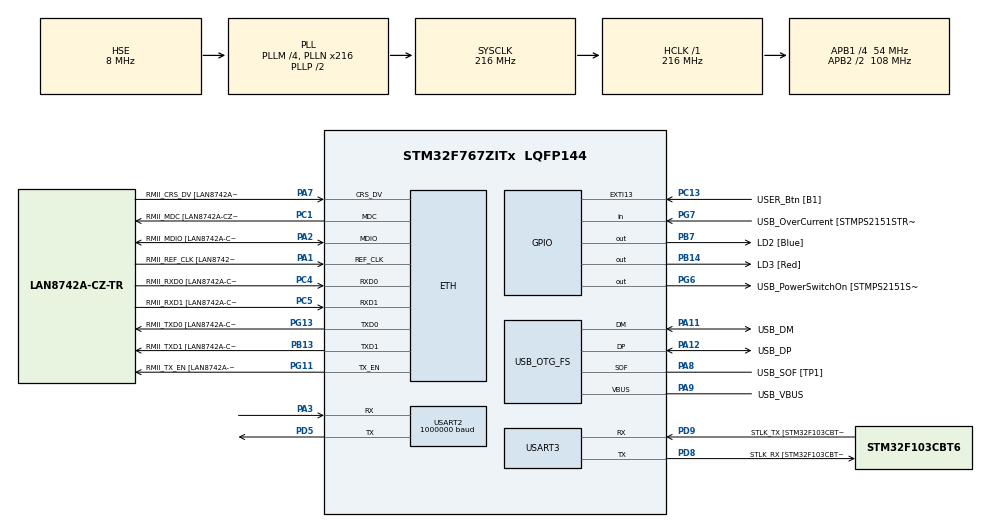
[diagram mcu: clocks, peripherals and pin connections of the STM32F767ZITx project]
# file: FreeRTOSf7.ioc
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ETH.MediaInterface=ETH_MEDIA_INTERFACE_RMII
ETH.PHY_Name=LAN8742A_PHY_ADDRESS
ETH.PHY_Value=0
ETH.PhyAddress=0
FREERTOS.INCLUDE_vTaskDelayUntil=1
FREERTOS.Tasks01=defaultTask,0,128,StartDefaultTask,Default,NULL
FREERTOS.configUSE_COUNTING_SEMAPHORES=1
Mcu.Family=STM32F7
Mcu.Name=STM32F767ZITx
Mcu.Package=LQFP144
NVIC.PriorityGroup=NVIC_PRIORITYGROUP_4
NVIC.TIM1_UP_TIM10_IRQn=true\:0\:0\:false\:false\:true\:false\:false
NVIC.TimeBase=TIM1_UP_TIM10_IRQn
NVIC.TimeBaseIP=TIM1
NVIC.USART2_IRQn=true\:5\:0\:false\:true\:true\:1\:true\:true
NVIC.USART3_IRQn=true\:5\:0\:false\:true\:true\:2\:true\:true
PA1.GPIO_Label=RMII_REF_CLK [LAN8742A-CZ-TR_REFCLK0]
PA1.Mode=RMII
PA1.Signal=ETH_REF_CLK
PA10.GPIO_Label=USB_ID
PA10.Signal=USB_OTG_FS_ID
PA11.GPIO_Label=USB_DM
PA11.Mode=Device_Only
PA11.Signal=USB_OTG_FS_DM
PA12.GPIO_Label=USB_DP
PA12.Mode=Device_Only
PA12.Signal=USB_OTG_FS_DP
PA13.GPIO_Label=TMS
PA13.Mode=Serial_Wire
PA13.Signal=SYS_JTMS-SWDIO
PA14.GPIO_Label=TCK
PA14.Mode=Serial_Wire
PA14.Signal=SYS_JTCK-SWCLK
PA2.GPIO_Label=RMII_MDIO [LAN8742A-CZ-TR_MDIO]
PA2.Mode=RMII
PA2.Signal=ETH_MDIO
PA3.Mode=Asynchronous
PA3.Signal=USART2_RX
PA7.GPIO_Label=RMII_CRS_DV [LAN8742A-CZ-TR_CRS_DV]
PA7.Mode=RMII
PA7.Signal=ETH_CRS_DV
PA8.GPIO_Label=USB_SOF [TP1]
PA8.Mode=Activate_SOF_FS
PA8.Signal=USB_OTG_FS_SOF
PA9.GPIO_Label=USB_VBUS
PA9.Mode=Activate_VBUS
PA9.Signal=USB_OTG_FS_VBUS
PB13.GPIO_Label=RMII_TXD1 [LAN8742A-CZ-TR_TXD1]
PB13.Mode=RMII
PB13.Signal=ETH_TXD1
PB14.GPIO_Label=LD3 [Red]
PB14.Signal=GPIO_Output
PB3.GPIO_Label=SWO
PB3.Signal=SYS_JTDO-SWO
PB7.GPIO_Label=LD2 [Blue]
PB7.Signal=GPIO_Output
PC1.GPIO_Label=RMII_MDC [LAN8742A-CZ-TR_MDC]
PC1.Mode=RMII
PC1.Signal=ETH_MDC
PC13.GPIO_Label=USER_Btn [B1]
PC13.Signal=GPXTI13
PC14/OSC32_IN.Mode=LSE-External-Oscillator
PC14/OSC32_IN.Signal=RCC_OSC32_IN
PC15/OSC32_OUT.Mode=LSE-External-Oscillator
PC15/OSC32_OUT.Signal=RCC_OSC32_OUT
PC4.GPIO_Label=RMII_RXD0 [LAN8742A-CZ-TR_RXD0]
PC4.Mode=RMII
PC4.Signal=ETH_RXD0
PC5.GPIO_Label=RMII_RXD1 [LAN8742A-CZ-TR_RXD1]
PC5.Mode=RMII
PC5.Signal=ETH_RXD1
PD5.Mode=Asynchronous
PD5.Signal=USART2_TX
PD8.GPIO_Label=STLK_RX [STM32F103CBT6_PA3]
PD8.Mode=Asynchronous
PD8.Signal=USART3_TX
PD9.GPIO_Label=STLK_TX [STM32F103CBT6_PA2]
PD9.Mode=Asynchronous
PD9.Signal=USART3_RX
PG11.GPIO_Label=RMII_TX_EN [LAN8742A-CZ-TR_TXEN]
PG11.Mode=RMII
PG11.Signal=ETH_TX_EN
PG13.GPIO_Label=RMII_TXD0 [LAN8742A-CZ-TR_TXD0]
PG13.Mode=RMII
PG13.Signal=ETH_TXD0
PG6.GPIO_Label=USB_PowerSwitchOn [STMPS2151STR_EN]
PG6.Signal=GPIO_Output
PG7.GPIO_Label=USB_OverCurrent [STMPS2151STR_FAULT]
PG7.Signal=GPIO_Input
PH0/OSC_IN.GPIO_Label=MCO [STM32F103CBT6_PA8]
PH0/OSC_IN.Mode=HSE-External-Clock-Source
PH0/OSC_IN.Signal=RCC_OSC_IN
PH1/OSC_OUT.Mode=HSE-External-Clock-Source
PH1/OSC_OUT.Signal=RCC_OSC_OUT
ProjectManager.HeapSize=0x200
ProjectManager.StackSize=0x400
ProjectManager.TargetToolchain=SW4STM32
RCC.48MHZClocksFreq_Value=24000000
RCC.AHBFreq_Value=216000000
RCC.APB1CLKDivider=RCC_HCLK_DIV4
RCC.APB1Freq_Value=54000000
RCC.APB1TimFreq_Value=108000000
RCC.APB2CLKDivider=RCC_HCLK_DIV2
RCC.APB2Freq_Value=108000000
RCC.APB2TimFreq_Value=216000000
RCC.CortexFreq_Value=216000000
RCC.HCLKFreq_Value=216000000
RCC.HSE_VALUE=8000000
RCC.HSI_VALUE=16000000
RCC.PLLM=4
RCC.PLLMUL=RCC_PLL_MUL9
RCC.PLLN=216
RCC.PLLQ=9
RCC.PRESCALERUSB=RCC_USBCLKSOURCE_PLL_DIV1_5
RCC.SYSCLKFreq_VALUE=216000000
RCC.SYSCLKSource=RCC_SYSCLKSOURCE_PLLCLK
RCC.SYSCLKSourceVirtual=RCC_SYSCLKSOURCE_PLLCLK
RCC.USBFreq_Value=48000000
RCC.VCOOutputFreq_Value=432000000
USART2.BaudRate=1000000
USART2.Mode=MODE_TX
USART2.VirtualMode-Asynchronous=VM_ASYNC
USART2.WordLength=WORDLENGTH_8B
USART3.VirtualMode-Asynchronous=VM_ASYNC
USB_OTG_FS.VirtualMode=Device_Only
VP_FREERTOS_VS_ENABLE.Mode=Enabled
VP_SYS_VS_tim1.Mode=TIM1
board=NUCLEO-F767ZI

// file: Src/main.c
/**
  ******************************************************************************
  * @file           : main.c
  * @brief          : Main program body
  ******************************************************************************
  * This notice applies to any and all portions of this file
  * that are not between comment pairs USER CODE BEGIN and
  * USER CODE END. Other portions of this file, whether
  * inserted by the user or by software development tools
  * are owned by their respective copyright owners.
  *
  * Copyright (c) 2018 STMicroelectronics International N.V.
  * All rights reserved.
  *
  * Redistribution and use in source and binary forms, with or without
  * modification, are permitted, provided that the following conditions are met:
  *
  * 1. Redistribution of source code must retain the above copyright notice,
  *    this list of conditions and the following disclaimer.
  * 2. Redistributions in binary form must reproduce the above copyright notice,
  *    this list of conditions and the following disclaimer in the documentation
  *    and/or other materials provided with the distribution.
  * 3. Neither the name of STMicroelectronics nor the names of other
  *    contributors to this software may be used to endorse or promote products
  *    derived from this software without specific written permission.
  * 4. This software, including modifications and/or derivative works of this
  *    software, must execute solely and exclusively on microcontroller or
  *    microprocessor devices manufactured by or for STMicroelectronics.
  * 5. Redistribution and use of this software other than as permitted under
  *    this license is void and will automatically terminate your rights under
  *    this license.
  *
  * THIS SOFTWARE IS PROVIDED BY STMICROELECTRONICS AND CONTRIBUTORS "AS IS"
  * AND ANY EXPRESS, IMPLIED OR STATUTORY WARRANTIES, INCLUDING, BUT NOT
  * LIMITED TO, THE IMPLIED WARRANTIES OF MERCHANTABILITY, FITNESS FOR A
  * PARTICULAR PURPOSE AND NON-INFRINGEMENT OF THIRD PARTY INTELLECTUAL PROPERTY
  * RIGHTS ARE DISCLAIMED TO THE FULLEST EXTENT PERMITTED BY LAW. IN NO EVENT
  * SHALL STMICROELECTRONICS OR CONTRIBUTORS BE LIABLE FOR ANY DIRECT, INDIRECT,
  * INCIDENTAL, SPECIAL, EXEMPLARY, OR CONSEQUENTIAL DAMAGES (INCLUDING, BUT NOT
  * LIMITED TO, PROCUREMENT OF SUBSTITUTE GOODS OR SERVICES; LOSS OF USE, DATA,
  * OR PROFITS; OR BUSINESS INTERRUPTION) HOWEVER CAUSED AND ON ANY THEORY OF
  * LIABILITY, WHETHER IN CONTRACT, STRICT LIABILITY, OR TORT (INCLUDING
  * NEGLIGENCE OR OTHERWISE) ARISING IN ANY WAY OUT OF THE USE OF THIS SOFTWARE,
  * EVEN IF ADVISED OF THE POSSIBILITY OF SUCH DAMAGE.
  *
  ******************************************************************************
  */
#include "main.h"
#include "stm32f7xx_hal.h"
#include "cmsis_os.h"
#include "selfFIFO.h"
#include "stm32f7xx_nucleo_144.h"
#include "stdlib.h"

#include "stm32f767xx.h"
#include "stm32f7xx.h"

ETH_HandleTypeDef heth;

UART_HandleTypeDef huart2;
UART_HandleTypeDef huart3;

PCD_HandleTypeDef hpcd_USB_OTG_FS;

osThreadId defaultTaskHandle;

osThreadId TempReadTaskHandle;
osThreadId HumidityReadTaskHandle;
osThreadId dataCaptureTaskHandle;

osMessageQId infoQueueHandle;
osSemaphoreId triggerSemaphore;//
osMutexId lcdMutex;

/* USER CODE BEGIN PV */
/* Private variables ---------------------------------------------------------*/

/* USER CODE END PV */

void SystemClock_Config(void);
static void MX_GPIO_Init(void);
static void MX_ETH_Init(void);
static void MX_USART3_UART_Init(void);
static void MX_USB_OTG_FS_PCD_Init(void);
static void MX_USART2_UART_Init(void);
void StartDefaultTask(void const * argument);
static void MX_NVIC_Init(void);

void uartsendITHandler(UART_HandleTypeDef huart);

void TempReadTask(); // The temperature will be read every 2secs and displayed/written in a Queue towards the data Capture Task
void HumidityReadTask(); // The humidity will be read every 2secs and displayed/written in a Queue towards the data Capture Task
void dataCaptureTask();// The data will be saved in this task

// Tracesniffer Test: The functions arent implemented
int readTemp();    //Reads the temp // Displayed with flashing of LED3
int readHumidity(); //Reads the temp // Displayed with flashing of LED3
void writeToLCD(); // The LCD is a shared resource// It takes 500ms to write to the LCD // Displayed with LED1
void saveData(); //Data is saved // Displayed by LED2
/* USER CODE BEGIN PFP */
/* Private function prototypes -----------------------------------------------*/

/* USER CODE END PFP */

int main(void)
{

  /* MCU Configuration----------------------------------------------------------*/

  /* Reset of all peripherals, Initializes the Flash interface and the Systick. */
  HAL_Init();

  /* Configure the system clock */
  SystemClock_Config();

  /* Initialize all configured peripherals */
  MX_GPIO_Init();
 // MX_ETH_Init();
  MX_USART3_UART_Init();
  MX_USB_OTG_FS_PCD_Init();
  MX_USART2_UART_Init();

  /* Initialize interrupts */
  MX_NVIC_Init();
  /* USER CODE BEGIN 2 */

  osMessageQDef(infoQueueHandle, 10, int);
  infoQueueHandle = osMessageCreate(osMessageQ(infoQueueHandle), NULL);
  /* USER CODE END 2 */
  traceSTART();
  /* USER CODE BEGIN RTOS_MUTEX */

  lcdMutex=xSemaphoreCreateMutex();
  /* USER CODE END RTOS_MUTEX */

  /* USER CODE BEGIN RTOS_SEMAPHORES */
  triggerSemaphore=xSemaphoreCreateCounting(5,0);
  /* USER CODE END 2 */

  /* USER CODE BEGIN RTOS_MUTEX */
  /* add mutexes, ... */
  /* USER CODE END RTOS_MUTEX */

  /* USER CODE BEGIN RTOS_SEMAPHORES */
  /* add semaphores, ... */
  /* USER CODE END RTOS_SEMAPHORES */

  /* Create the thread(s) */
  /* definition and creation of defaultTask */
  //osThreadDef(defaultTask, StartDefaultTask, osPriorityNormal, 0, 128);
  //defaultTaskHandle = osThreadCreate(osThread(defaultTask), NULL);

  /* USER CODE BEGIN RTOS_THREADS */
  osThreadDef(Temp, TempReadTask, osPriorityNormal, 0, 128);
  TempReadTaskHandle = osThreadCreate(osThread(Temp), NULL);

  osThreadDef(Humid, HumidityReadTask, osPriorityNormal, 0, 128);
  HumidityReadTaskHandle = osThreadCreate(osThread(Humid), NULL);

  osThreadDef(Data, dataCaptureTask, osPriorityNormal, 0, 128);
  dataCaptureTaskHandle = osThreadCreate(osThread(Data), NULL);
  /* USER CODE END RTOS_THREADS */

  BSP_LED_Init(LED1);

  /* Start scheduler */
  osKernelStart();

  /* We should never get here as control is now taken by the scheduler */

  /* Infinite loop */
  while (1)
  {

  }

}

void SystemClock_Config(void)
{

  RCC_OscInitTypeDef RCC_OscInitStruct;
  RCC_ClkInitTypeDef RCC_ClkInitStruct;
  RCC_PeriphCLKInitTypeDef PeriphClkInitStruct;

    /**Configure the main internal regulator output voltage
    */
  __HAL_RCC_PWR_CLK_ENABLE();

  __HAL_PWR_VOLTAGESCALING_CONFIG(PWR_REGULATOR_VOLTAGE_SCALE1);

    /**Initializes the CPU, AHB and APB busses clocks
    */
  RCC_OscInitStruct.OscillatorType = RCC_OSCILLATORTYPE_HSE;
  RCC_OscInitStruct.HSEState = RCC_HSE_BYPASS;
  RCC_OscInitStruct.PLL.PLLState = RCC_PLL_ON;
  RCC_OscInitStruct.PLL.PLLSource = RCC_PLLSOURCE_HSE;
  RCC_OscInitStruct.PLL.PLLM = 4;
  RCC_OscInitStruct.PLL.PLLN = 216;
  RCC_OscInitStruct.PLL.PLLP = RCC_PLLP_DIV2;
  RCC_OscInitStruct.PLL.PLLQ = 9;
  if (HAL_RCC_OscConfig(&RCC_OscInitStruct) != HAL_OK)
  {
    _Error_Handler(__FILE__, __LINE__);
  }

    /**Activate the Over-Drive mode
    */
  if (HAL_PWREx_EnableOverDrive() != HAL_OK)
  {
    _Error_Handler(__FILE__, __LINE__);
  }

    /**Initializes the CPU, AHB and APB busses clocks
    */
  RCC_ClkInitStruct.ClockType = RCC_CLOCKTYPE_HCLK|RCC_CLOCKTYPE_SYSCLK
                              |RCC_CLOCKTYPE_PCLK1|RCC_CLOCKTYPE_PCLK2;
  RCC_ClkInitStruct.SYSCLKSource = RCC_SYSCLKSOURCE_PLLCLK;
  RCC_ClkInitStruct.AHBCLKDivider = RCC_SYSCLK_DIV1;
  RCC_ClkInitStruct.APB1CLKDivider = RCC_HCLK_DIV4;
  RCC_ClkInitStruct.APB2CLKDivider = RCC_HCLK_DIV2;

  if (HAL_RCC_ClockConfig(&RCC_ClkInitStruct, FLASH_LATENCY_7) != HAL_OK)
  {
    _Error_Handler(__FILE__, __LINE__);
  }

  PeriphClkInitStruct.PeriphClockSelection = RCC_PERIPHCLK_USART2|RCC_PERIPHCLK_USART3
                              |RCC_PERIPHCLK_CLK48;
  PeriphClkInitStruct.Usart2ClockSelection = RCC_USART2CLKSOURCE_PCLK1;
  PeriphClkInitStruct.Usart3ClockSelection = RCC_USART3CLKSOURCE_PCLK1;
  PeriphClkInitStruct.Clk48ClockSelection = RCC_CLK48SOURCE_PLL;
  if (HAL_RCCEx_PeriphCLKConfig(&PeriphClkInitStruct) != HAL_OK)
  {
    _Error_Handler(__FILE__, __LINE__);
  }

    /**Configure the Systick interrupt time
    */
  HAL_SYSTICK_Config(HAL_RCC_GetHCLKFreq()/1000);

    /**Configure the Systick
    */
  HAL_SYSTICK_CLKSourceConfig(SYSTICK_CLKSOURCE_HCLK);

  /* SysTick_IRQn interrupt configuration */
  HAL_NVIC_SetPriority(SysTick_IRQn, 15, 0);
}

/**
  * @brief NVIC Configuration.
  * @retval None
  */
static void MX_NVIC_Init(void)
{
  /* USART2_IRQn interrupt configuration */
  HAL_NVIC_SetPriority(USART2_IRQn, 5, 0);
  HAL_NVIC_EnableIRQ(USART2_IRQn);
  /* USART3_IRQn interrupt configuration */
  HAL_NVIC_SetPriority(USART3_IRQn, 5, 0);
  HAL_NVIC_EnableIRQ(USART3_IRQn);
}

/* ETH init function */
static void MX_ETH_Init(void)
{

   uint8_t MACAddr[6] ;

  heth.Instance = ETH;
  heth.Init.AutoNegotiation = ETH_AUTONEGOTIATION_ENABLE;
  heth.Init.PhyAddress = LAN8742A_PHY_ADDRESS;
  MACAddr[0] = 0x00;
  MACAddr[1] = 0x80;
  MACAddr[2] = 0xE1;
  MACAddr[3] = 0x00;
  MACAddr[4] = 0x00;
  MACAddr[5] = 0x00;
  heth.Init.MACAddr = &MACAddr[0];
  heth.Init.RxMode = ETH_RXPOLLING_MODE;
  heth.Init.ChecksumMode = ETH_CHECKSUM_BY_HARDWARE;
  heth.Init.MediaInterface = ETH_MEDIA_INTERFACE_RMII;

  if (HAL_ETH_Init(&heth) != HAL_OK)
  {
    _Error_Handler(__FILE__, __LINE__);
  }

}

/* USART2 init function */
static void MX_USART2_UART_Init(void)
{

  huart2.Instance = USART2;
  huart2.Init.BaudRate = 1000000;
  huart2.Init.WordLength = UART_WORDLENGTH_8B;
  huart2.Init.StopBits = UART_STOPBITS_1;
  huart2.Init.Parity = UART_PARITY_NONE;
  huart2.Init.Mode = UART_MODE_TX;
  huart2.Init.HwFlowCtl = UART_HWCONTROL_NONE;
  huart2.Init.OverSampling = UART_OVERSAMPLING_16;
  huart2.Init.OneBitSampling = UART_ONE_BIT_SAMPLE_DISABLE;
  huart2.AdvancedInit.AdvFeatureInit = UART_ADVFEATURE_NO_INIT;
  if (HAL_UART_Init(&huart2) != HAL_OK)
  {
    _Error_Handler(__FILE__, __LINE__);
  }

}

/* USART3 init function */
static void MX_USART3_UART_Init(void)
{

  huart3.Instance = USART3;
  huart3.Init.BaudRate = 115200;
  huart3.Init.WordLength = UART_WORDLENGTH_7B;
  huart3.Init.StopBits = UART_STOPBITS_1;
  huart3.Init.Parity = UART_PARITY_NONE;
  huart3.Init.Mode = UART_MODE_TX_RX;
  huart3.Init.HwFlowCtl = UART_HWCONTROL_NONE;
  huart3.Init.OverSampling = UART_OVERSAMPLING_16;
  huart3.Init.OneBitSampling = UART_ONE_BIT_SAMPLE_DISABLE;
  huart3.AdvancedInit.AdvFeatureInit = UART_ADVFEATURE_NO_INIT;
  if (HAL_UART_Init(&huart3) != HAL_OK)
  {
    _Error_Handler(__FILE__, __LINE__);
  }

}

/* USB_OTG_FS init function */
static void MX_USB_OTG_FS_PCD_Init(void)
{

  hpcd_USB_OTG_FS.Instance = USB_OTG_FS;
  hpcd_USB_OTG_FS.Init.dev_endpoints = 6;
  hpcd_USB_OTG_FS.Init.speed = PCD_SPEED_FULL;
  hpcd_USB_OTG_FS.Init.dma_enable = DISABLE;
  hpcd_USB_OTG_FS.Init.ep0_mps = DEP0CTL_MPS_64;
  hpcd_USB_OTG_FS.Init.phy_itface = PCD_PHY_EMBEDDED;
  hpcd_USB_OTG_FS.Init.Sof_enable = ENABLE;
  hpcd_USB_OTG_FS.Init.low_power_enable = DISABLE;
  hpcd_USB_OTG_FS.Init.lpm_enable = DISABLE;
  hpcd_USB_OTG_FS.Init.vbus_sensing_enable = ENABLE;
  hpcd_USB_OTG_FS.Init.use_dedicated_ep1 = DISABLE;
  if (HAL_PCD_Init(&hpcd_USB_OTG_FS) != HAL_OK)
  {
    _Error_Handler(__FILE__, __LINE__);
  }

}

/** Configure pins as
        * Analog
        * Input
        * Output
        * EVENT_OUT
        * EXTI
*/
static void MX_GPIO_Init(void)
{

  GPIO_InitTypeDef GPIO_InitStruct;

  /* GPIO Ports Clock Enable */
  __HAL_RCC_GPIOC_CLK_ENABLE();
  __HAL_RCC_GPIOH_CLK_ENABLE();
  __HAL_RCC_GPIOA_CLK_ENABLE();
  __HAL_RCC_GPIOB_CLK_ENABLE();
  __HAL_RCC_GPIOD_CLK_ENABLE();
  __HAL_RCC_GPIOG_CLK_ENABLE();

  /*Configure GPIO pin Output Level */
  HAL_GPIO_WritePin(GPIOB, LD3_Pin|LD2_Pin, GPIO_PIN_RESET);

  /*Configure GPIO pin Output Level */
  HAL_GPIO_WritePin(USB_PowerSwitchOn_GPIO_Port, USB_PowerSwitchOn_Pin, GPIO_PIN_RESET);

  /*Configure GPIO pin : USER_Btn_Pin */
  GPIO_InitStruct.Pin = USER_Btn_Pin;
  GPIO_InitStruct.Mode = GPIO_MODE_IT_RISING;
  GPIO_InitStruct.Pull = GPIO_NOPULL;
  HAL_GPIO_Init(USER_Btn_GPIO_Port, &GPIO_InitStruct);

  /*Configure GPIO pins : LD3_Pin LD2_Pin */
  GPIO_InitStruct.Pin = LD3_Pin|LD2_Pin;
  GPIO_InitStruct.Mode = GPIO_MODE_OUTPUT_PP;
  GPIO_InitStruct.Pull = GPIO_NOPULL;
  GPIO_InitStruct.Speed = GPIO_SPEED_FREQ_LOW;
  HAL_GPIO_Init(GPIOB, &GPIO_InitStruct);

  /*Configure GPIO pin : USB_PowerSwitchOn_Pin */
  GPIO_InitStruct.Pin = USB_PowerSwitchOn_Pin;
  GPIO_InitStruct.Mode = GPIO_MODE_OUTPUT_PP;
  GPIO_InitStruct.Pull = GPIO_NOPULL;
  GPIO_InitStruct.Speed = GPIO_SPEED_FREQ_LOW;
  HAL_GPIO_Init(USB_PowerSwitchOn_GPIO_Port, &GPIO_InitStruct);

  /*Configure GPIO pin : USB_OverCurrent_Pin */
  GPIO_InitStruct.Pin = USB_OverCurrent_Pin;
  GPIO_InitStruct.Mode = GPIO_MODE_INPUT;
  GPIO_InitStruct.Pull = GPIO_NOPULL;
  HAL_GPIO_Init(USB_OverCurrent_GPIO_Port, &GPIO_InitStruct);

}

/* StartDefaultTask function */
void StartDefaultTask(void const * argument)
{

  for(;;)
  {
    osDelay(1);
  }
}
uint8_t msg =0;
/* USER CODE BEGIN 4 */
void uartsendITHandler(UART_HandleTypeDef huart)
{
	if(BufferOut(&msg)==BUFFER_SUCCESS)
	{
		huart.Instance->TDR=(msg & (uint8_t)0xFFU);
	}
	else{

		CLEAR_BIT(huart.Instance->CR1, USART_CR1_TXEIE);

	}

}
int readTemp()    //Reads the temp // Displayed with flashing of LED3
{
	BSP_LED_On(LED3);
	HAL_Delay(50);
	BSP_LED_Off(LED3);
	return rand();
}
int readHumidity() //Reads the humidity // Displayed with flashing of LED3
{
	BSP_LED_On(LED3);
	HAL_Delay(50);
	BSP_LED_Off(LED3);
	return rand();
}

void writeToLCD() // The LCD is a shared resource// It takes 500ms to write to the LCD // Displayed with LED1
{
	BSP_LED_On(LED1);
	HAL_Delay(450);
	BSP_LED_Off(LED1);
	HAL_Delay(50);
}

void saveData() //Data is saved // Displayed by LED2
{
	BSP_LED_On(LED2);
	HAL_Delay(100);
	BSP_LED_Off(LED2);
}
/* USER CODE END 4 */

/* Startled1Task function */
void Startled1Task(void const * argument)
{
  /* USER CODE BEGIN Startled1Task */
  /* Infinite loop */
	BSP_LED_Init(LED1);
	TickType_t lastwoken;
	lastwoken = xTaskGetTickCount();
  for(;;)
  {
	BSP_LED_Toggle(LED1);
    osDelayUntil(&lastwoken,1000);
  }
  /* USER CODE END Startled1Task */
}

/* Startled2Task function */
void Startled2Task(void const * argument)
{
  /* USER CODE BEGIN Startled2Task */
  /* Infinite loop */
	BSP_LED_Init(LED2);
	TickType_t lastwoken;
	lastwoken = xTaskGetTickCount();
  for(;;)
  {

	  BSP_LED_Toggle(LED2);
	  osDelayUntil(&lastwoken,500);

  }

  /* USER CODE END Startled2Task */
}
void TempReadTask()
{
	TickType_t lastwoken;
	lastwoken = xTaskGetTickCount();
	int temp;
	traceCUSTOM_MARKER_1();
	while(1)
	{
		osDelayUntil(&lastwoken,2000);
		temp=readTemp();
		xQueueSend(infoQueueHandle,&temp,portMAX_DELAY);
		if(xSemaphoreTake(lcdMutex,portMAX_DELAY)){
			writeToLCD();
			xSemaphoreGive(lcdMutex);
		}

	}
}
void HumidityReadTask()
{
	TickType_t lastwoken;
	lastwoken = xTaskGetTickCount();
	int humidity;
	traceCUSTOM_MARKER_2();
	while(1)
	{
		osDelayUntil(&lastwoken,2000);
		humidity=readHumidity();
		xQueueSend(infoQueueHandle,&humidity,portMAX_DELAY);
		if(xSemaphoreTake(lcdMutex,portMAX_DELAY)){
			writeToLCD();
			xSemaphoreGive(lcdMutex);
		}
	}
}
void dataCaptureTask()
{
	int info;
	traceCUSTOM_MARKER_3();
	while(1)
	{
		xQueueReceive(infoQueueHandle,&info,portMAX_DELAY);
		saveData();
	}
}

void HAL_TIM_PeriodElapsedCallback(TIM_HandleTypeDef *htim)
{
  if (htim->Instance == TIM1) {
    HAL_IncTick();
  }
}

void _Error_Handler(char *file, int line)
{
  while(1)
  {
  }
}

/************************ (C) COPYRIGHT STMicroelectronics *****END OF FILE****/
